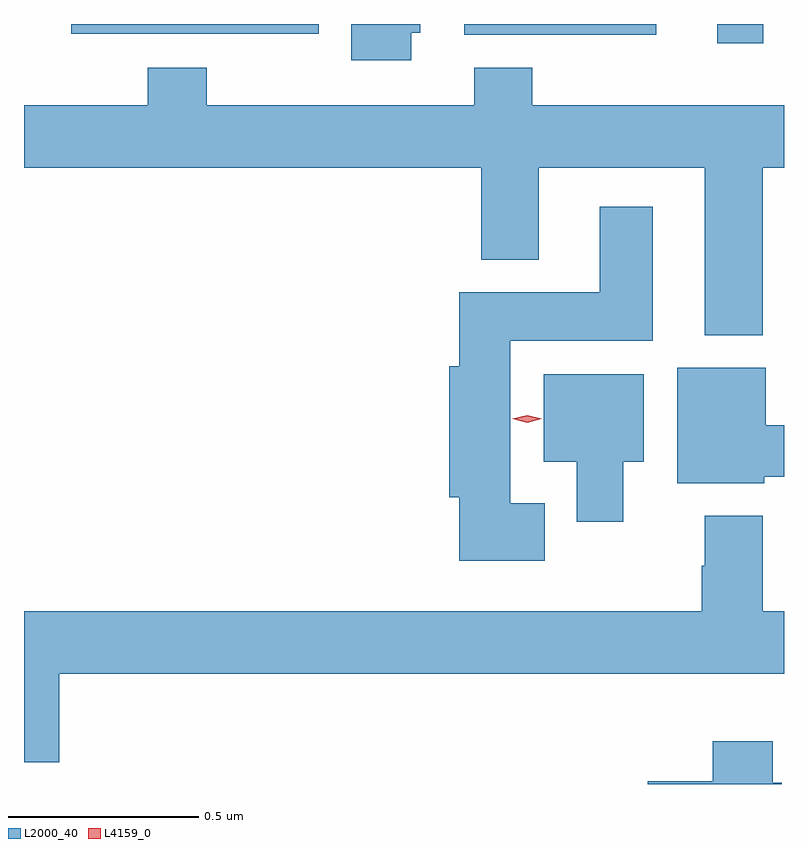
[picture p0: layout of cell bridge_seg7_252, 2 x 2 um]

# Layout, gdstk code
import gdstk
lib = gdstk.Library(unit=1e-6, precision=1e-09)
def R(c, l, rs):  # rectangles x0, y0, x1, y1
    for r in rs: c.add(gdstk.rectangle(r[:2], r[2:], *l))
def P(c, l, *ps):  # polygons
    for p in ps: c.add(gdstk.Polygon(p, *l))
L2000_40 = (2000, 40)
L4159_0 = (4159, 0)

bridge_seg7_252 = lib.new_cell('bridge_seg7_252')
R(bridge_seg7_252, L2000_40, [(197.33,1036.908,197.452,1036.958), (196.664,1036.93,197.17,1036.958), (195.63,1036.932,196.282,1036.958)])
P(bridge_seg7_252, L2000_40, [(196.525,1036.935),(196.549,1036.935),(196.549,1036.958),(196.367,1036.958),(196.367,1036.863),(196.525,1036.863)],
  [(197.45,1036.58),(197.506,1036.58),(197.506,1036.744),(196.844,1036.744),(196.844,1036.843),(196.691,1036.843),(196.691,1036.744),(195.987,1036.744),(195.987,1036.843),(195.832,1036.843),(195.832,1036.744),(195.506,1036.744),(195.506,1036.58),(196.709,1036.58),(196.709,1036.337),(196.861,1036.337),(196.861,1036.58),(197.297,1036.58),(197.297,1036.139),(197.45,1036.139)],
  [(196.876,1035.697),(196.786,1035.697),(196.786,1036.124),(197.161,1036.124),(197.161,1036.477),(197.021,1036.477),(197.021,1036.252),(196.652,1036.252),(196.652,1036.057),(196.625,1036.057),(196.625,1035.713),(196.652,1035.713),(196.652,1035.545),(196.876,1035.545)],
  [(197.454,1035.767),(197.506,1035.767),(197.506,1035.902),(197.458,1035.902),(197.458,1036.054),(197.225,1036.054),(197.225,1035.749),(197.454,1035.749)],
  [(197.083,1035.806),(197.137,1035.806),(197.137,1036.036),(196.874,1036.036),(196.874,1035.806),(196.961,1035.806),(196.961,1035.648),(197.083,1035.648)],
  [(195.599,1035.248),(197.506,1035.248),(197.506,1035.412),(197.45,1035.412),(197.45,1035.664),(197.297,1035.664),(197.297,1035.533),(197.29,1035.533),(197.29,1035.412),(195.506,1035.412),(195.506,1035.015),(195.599,1035.015)],
  [(197.5,1034.961),(197.476,1034.961),(197.476,1035.07),(197.318,1035.07),(197.318,1034.965),(197.148,1034.965),(197.148,1034.958),(197.5,1034.958)])
P(bridge_seg7_252, L4159_0, [(196.83,1035.909),(196.791,1035.919),(196.791,1035.919),(196.791,1035.919),(196.83,1035.929),(196.869,1035.919),(196.869,1035.919),(196.869,1035.919)])

lib.write_gds('bridge_seg7_252.gds')
